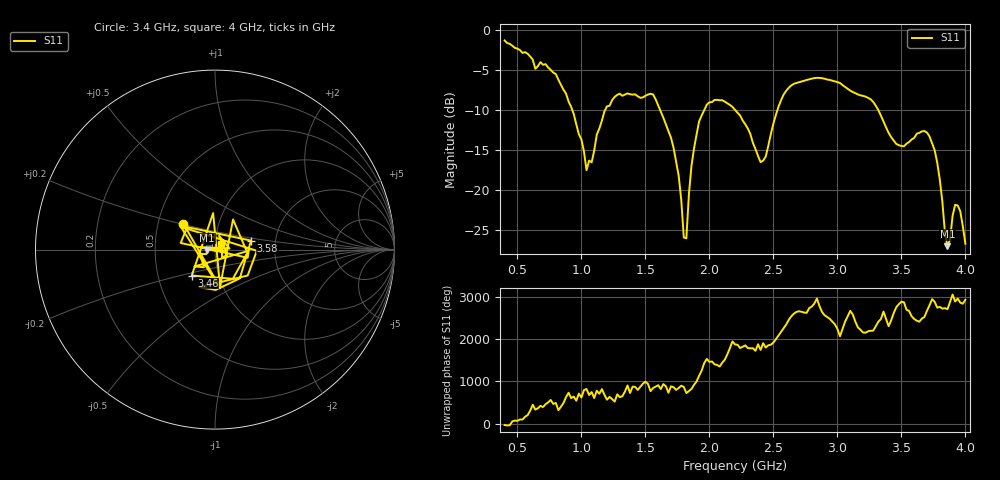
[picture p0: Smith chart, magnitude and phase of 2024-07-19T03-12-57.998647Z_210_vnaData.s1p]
!Created with skrf (http://scikit-rf.org).
# Hz S RI R 50.0
!freq ReS11 ImS11
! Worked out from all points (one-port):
!   181 points, 400 MHz to 4 GHz, reference 50 ohm
!   lowest |S11| = -27.0 dB at 3.86 GHz (marker M1), VSWR 1.09, Z = 45.7 - j0.16 ohm
!   |S11| at or under -10 dB: 1.615 GHz to 1.96 GHz (345.2 MHz wide, 19.3 % of centre); 2.2 GHz to 2.532 GHz (332.3 MHz wide, 14 % of centre); 3.319 GHz to end of sweep (the widest 3 of 4)
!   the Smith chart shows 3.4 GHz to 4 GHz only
!   S11 on the Smith chart (normalised r, x): 3.4 GHz: 0.68, +0.21; 3.46 GHz: 0.74, -0.22; 3.58 GHz: 1.49, +0.16; 4 GHz: 1.07, +0.07
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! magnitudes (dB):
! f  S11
! 400 MHz  -1.4
! 860 MHz  -7.5
! 1.04 GHz  -17.5
! 1.18 GHz  -10.2
! 1.3 GHz  -8.0
! 1.56 GHz  -8.1
! 1.7 GHz  -13.5
! 1.76 GHz  -18.2
! 1.8 GHz  -25.9
! 1.82 GHz  -26.0
! 1.86 GHz  -17.0
! 1.92 GHz  -11.4
! 2.04 GHz  -8.8
! 2.2 GHz  -10.0
! 2.4 GHz  -16.5
! 2.56 GHz  -8.8
! 2.66 GHz  -6.8
! 3.1 GHz  -7.6
! 3.28 GHz  -9.0
! 3.4 GHz  -12.9
! 3.46 GHz  -14.2
! 3.56 GHz  -14.0
! 3.58 GHz  -13.7
! 3.68 GHz  -12.6
! 3.76 GHz  -15.0
! 3.86 GHz  -27.0
! 3.92 GHz  -21.8
! 4 GHz  -26.7
